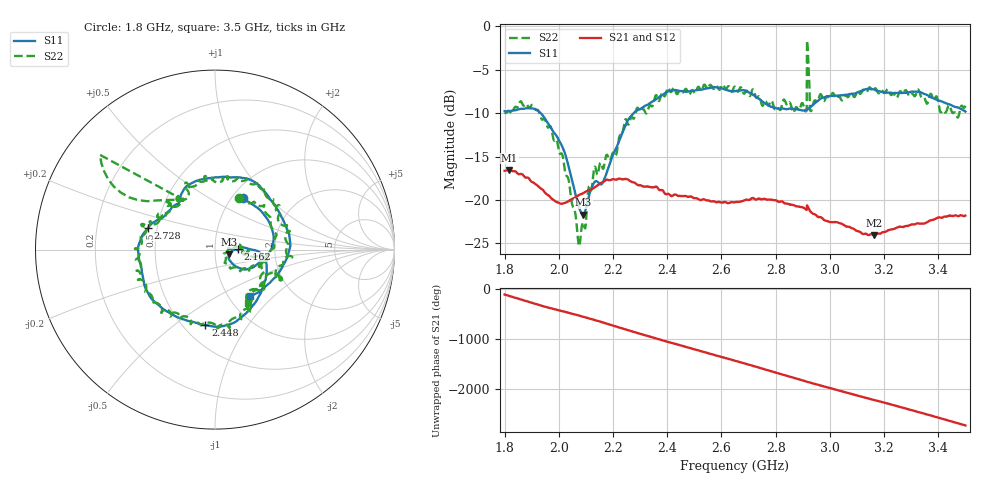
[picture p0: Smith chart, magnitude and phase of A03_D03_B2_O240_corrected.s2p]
! Created with skrf 1.9.0 (http://scikit-rf.org).
# Hz S RI R 50.0
!freq ReS11 ImS11 ReS21 ImS21 ReS12 ImS12 ReS22 ImS22
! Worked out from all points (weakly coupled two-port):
!   1601 points, 1.8 GHz to 3.5 GHz, reference 50 ohm
!   highest |S21| = -16.53 dB at 1.817 GHz (marker M1); lowest = -24.1 dB at 3.164 GHz (marker M2)
!   lowest |S11| = -21.7 dB at 2.09 GHz (marker M3), VSWR 1.18, Z = 58.4 - j3.12 ohm
!   |S11| at or under -10 dB: 1.933 GHz to 2.276 GHz (342.3 MHz wide, 16.3 % of centre)
!   |S22| runs from -25.3 to -1.6 dB; largest |S21 - S12| = 0.0026
!   S11 on the Smith chart (normalised r, x): 1.8 GHz: 1.12, +0.72; 2.162 GHz: 1.29, +0.01; 2.448 GHz: 0.64, -0.65; 2.728 GHz: 0.45, +0.13; 3.5 GHz: 1.25, -0.72
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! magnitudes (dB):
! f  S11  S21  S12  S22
! 1.8 GHz  -9.8  -16.6  -16.6  -9.9
! 1.817 GHz  -9.8  -16.5  -16.5  -9.7
! 1.903 GHz  -9.5  -18.0  -17.9  -9.1
! 1.968 GHz  -11.6  -19.6  -19.7  -11.5
! 2.015 GHz  -14.0  -20.4  -20.4  -15.0
! 2.072 GHz  -20.6  -19.5  -19.5  -24.9
! 2.084 GHz  -21.5  -19.3  -19.3  -23.3
! 2.09 GHz  -21.7  -19.2  -19.3  -22.6
! 2.13 GHz  -18.0  -18.6  -18.6  -16.3
! 2.162 GHz  -18.0  -18.0  -17.9  -16.4
! 2.259 GHz  -10.6  -17.7  -17.7  -11.2
! 2.367 GHz  -8.2  -18.7  -18.7  -8.5
! 2.448 GHz  -7.5  -19.6  -19.5  -7.4
! 2.65 GHz  -7.5  -20.2  -20.2  -6.9
! 2.728 GHz  -8.1  -20.0  -20.0  -8.2
! 2.906 GHz  -9.7  -21.0  -20.9  -9.5
! 2.915 GHz  -9.6  -21.1  -21.1  -9.7
! 2.924 GHz  -9.4  -21.1  -21.1  -6.7
! 2.934 GHz  -9.2  -21.5  -21.5  -9.6
! 3.164 GHz  -7.3  -24.1  -24.0  -7.2
! 3.217 GHz  -7.6  -23.5  -23.4  -7.4
! 3.5 GHz  -9.8  -21.8  -21.8  -9.1
